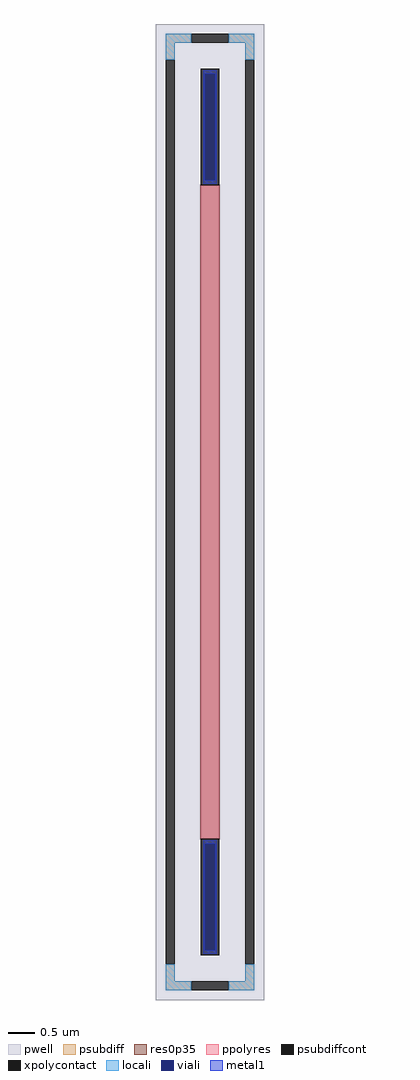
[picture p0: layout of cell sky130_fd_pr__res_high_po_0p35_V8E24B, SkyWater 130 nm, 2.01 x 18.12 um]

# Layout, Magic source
magic
tech sky130A
magscale 1 2
<< pwell >>
rect -201 -1812 201 1812
<< psubdiff >>
rect -165 1742 -69 1776
rect 69 1742 165 1776
rect -165 1680 -131 1742
rect 131 1680 165 1742
rect -165 -1742 -131 -1680
rect 131 -1742 165 -1680
rect -165 -1776 -69 -1742
rect 69 -1776 165 -1742
<< psubdiffcont >>
rect -69 1742 69 1776
rect -165 -1680 -131 1680
rect 131 -1680 165 1680
rect -69 -1776 69 -1742
<< xpolycontact >>
rect -35 1214 35 1646
rect -35 -1646 35 -1214
<< ppolyres >>
rect -35 -1214 35 1214
<< locali >>
rect -165 1742 -69 1776
rect 69 1742 165 1776
rect -165 1680 -131 1742
rect 131 1680 165 1742
rect -165 -1742 -131 -1680
rect 131 -1742 165 -1680
rect -165 -1776 -69 -1742
rect 69 -1776 165 -1742
<< viali >>
rect -19 1231 19 1628
rect -19 -1628 19 -1231
<< metal1 >>
rect -25 1628 25 1640
rect -25 1231 -19 1628
rect 19 1231 25 1628
rect -25 1219 25 1231
rect -25 -1231 25 -1219
rect -25 -1628 -19 -1231
rect 19 -1628 25 -1231
rect -25 -1640 25 -1628
<< res0p35 >>
rect -37 -1216 37 1216
<< properties >>
string FIXED_BBOX -148 -1759 148 1759
string gencell sky130_fd_pr__res_high_po_0p35
string library sky130
string parameters w 0.350 l 12.14 m 1 nx 1 wmin 0.350 lmin 0.50 rho 319.8 val 12.205k dummy 0 dw 0.0 term 194.82 sterm 0.0 caplen 0 guard 1 glc 1 grc 1 gtc 1 gbc 1 compatible {sky130_fd_pr__res_high_po_0p35  sky130_fd_pr__res_high_po_0p69 sky130_fd_pr__res_high_po_1p41  sky130_fd_pr__res_high_po_2p85 sky130_fd_pr__res_high_po_5p73} full_metal 1 wmax 0.350 vias 1 n_guard 0 hv_guard 0 viagb 0 viagt 0 viagl 0 viagr 0
<< end >>
